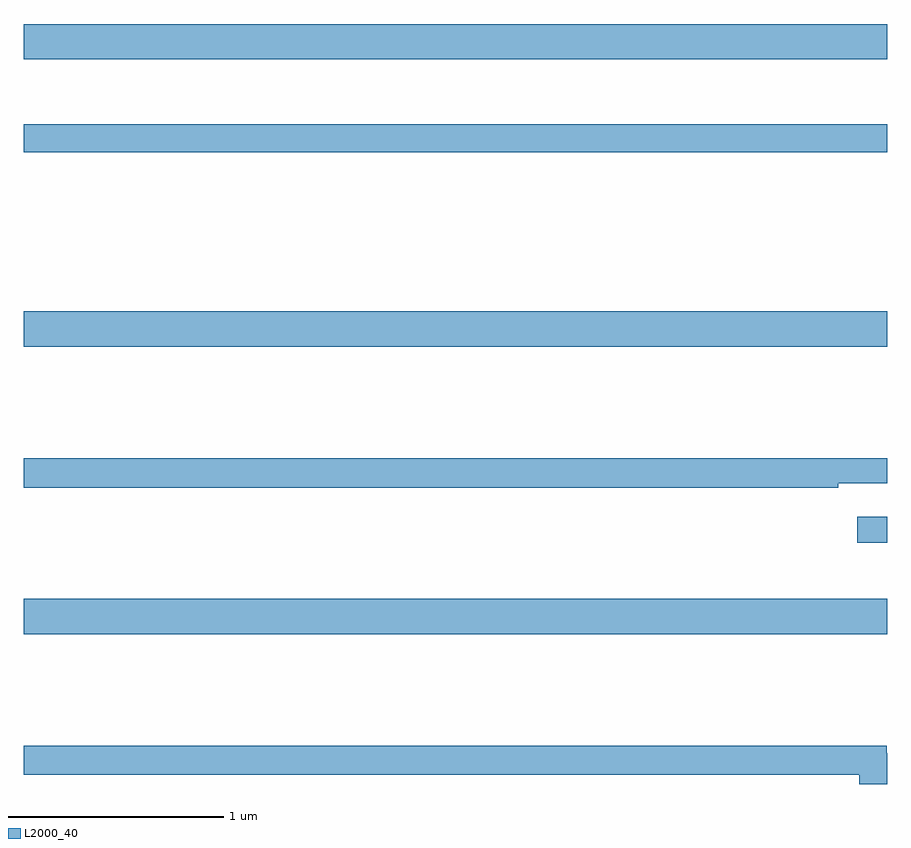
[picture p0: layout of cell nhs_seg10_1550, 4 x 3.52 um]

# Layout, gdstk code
import gdstk
lib = gdstk.Library(unit=1e-6, precision=1e-09)
def R(c, l, rs):  # rectangles x0, y0, x1, y1
    for r in rs: c.add(gdstk.rectangle(r[:2], r[2:], *l))
def A(c, l, x, y, w, h, nx, ny, dx, dy):  # array of equal rectangles
    R(c, l, [(x+i*dx, y+j*dy, x+i*dx+w, y+j*dy+h) for i in range(nx) for j in range(ny)])
def P(c, l, *ps):  # polygons
    for p in ps: c.add(gdstk.Polygon(p, *l))
L2000_40 = (2000, 40)

nhs_seg10_1550 = lib.new_cell('nhs_seg10_1550')
A(nhs_seg10_1550, L2000_40, 191, 1317.632, 4, 0.164, 1, 3, 0, 1.332)
R(nhs_seg10_1550, L2000_40, [(194.862,1318.055,195,1318.177), (191,1319.866,195,1319.995)])
P(nhs_seg10_1550, L2000_40, [(194.774,1318.332),(195,1318.332),(195,1318.448),(191,1318.448),(191,1318.312),(194.774,1318.312)],
  [(195,1317.08),(194.998,1317.08),(194.998,1317.116),(191,1317.116),(191,1316.98),(194.87,1316.98),(194.87,1316.938),(195,1316.938)])

lib.write_gds('nhs_seg10_1550.gds')
